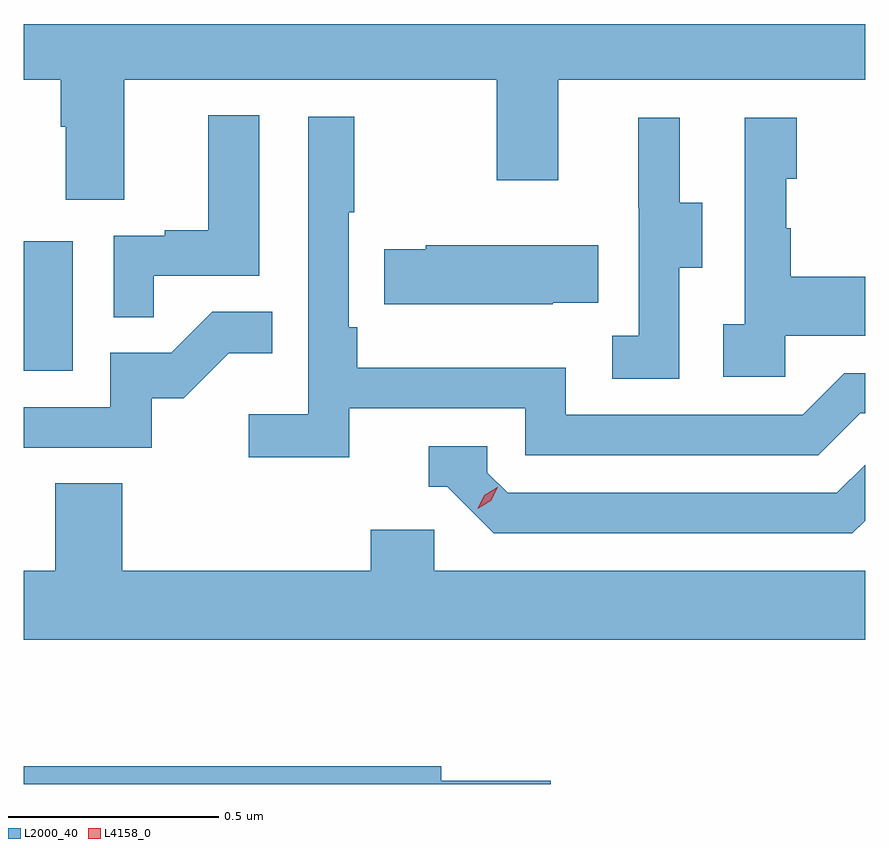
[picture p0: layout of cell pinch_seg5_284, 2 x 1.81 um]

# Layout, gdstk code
import gdstk
lib = gdstk.Library(unit=1e-6, precision=1e-09)
def R(c, l, rs):  # rectangles x0, y0, x1, y1
    for r in rs: c.add(gdstk.rectangle(r[:2], r[2:], *l))
def P(c, l, *ps):  # polygons
    for p in ps: c.add(gdstk.Polygon(p, *l))
L2000_40 = (2000, 40)
L4158_0 = (4158, 0)

pinch_seg5_284 = lib.new_cell('pinch_seg5_284')
R(pinch_seg5_284, L2000_40, [(908.846,914.676,908.962,914.983)])
P(pinch_seg5_284, L2000_40, [(909.085,915.368),(909.97,915.368),(909.97,915.129),(910.117,915.129),(910.117,915.368),(910.846,915.368),(910.846,915.5),(908.846,915.5),(908.846,915.368),(908.933,915.368),(908.933,915.256),(908.945,915.256),(908.945,915.082),(909.085,915.082)],
  [(909.155,914.901),(909.406,914.901),(909.406,915.283),(909.284,915.283),(909.284,915.01),(909.181,915.01),(909.181,914.997),(909.06,914.997),(909.06,914.803),(909.155,914.803)],
  [(909.62,914.586),(910.038,914.586),(910.038,914.475),(910.735,914.475),(910.834,914.574),(910.846,914.574),(910.846,914.67),(910.797,914.67),(910.698,914.571),(910.134,914.571),(910.134,914.683),(909.638,914.683),(909.638,914.779),(909.618,914.779),(909.618,915.052),(909.631,915.052),(909.631,915.28),(909.522,915.28),(909.522,914.572),(909.381,914.572),(909.381,914.47),(909.62,914.47)],
  [(910.404,914.92),(910.459,914.92),(910.459,915.075),(910.405,915.075),(910.405,915.277),(910.307,915.277),(910.307,915.063),(910.308,915.063),(910.308,914.759),(910.245,914.759),(910.245,914.656),(910.404,914.656)],
  [(910.656,914.759),(910.846,914.759),(910.846,914.899),(910.669,914.899),(910.669,915.014),(910.659,915.014),(910.659,915.132),(910.684,915.132),(910.684,915.277),(910.56,915.277),(910.56,914.786),(910.509,914.786),(910.509,914.661),(910.656,914.661)],
  [(910.103,914.837),(910.211,914.837),(910.211,914.974),(909.801,914.974),(909.801,914.964),(909.703,914.964),(909.703,914.834),(910.103,914.834)],
  [(909.15,914.61),(909.226,914.61),(909.333,914.717),(909.437,914.717),(909.437,914.816),(909.294,914.816),(909.196,914.718),(909.051,914.718),(909.051,914.589),(908.846,914.589),(908.846,914.493),(909.15,914.493)],
  [(910.846,914.319),(910.846,914.452),(910.779,914.385),(909.996,914.385),(909.948,914.433),(909.948,914.496),(909.809,914.496),(909.809,914.4),(909.852,914.4),(909.963,914.289),(910.816,914.289)],
  [(910.846,914.2),(909.822,914.2),(909.822,914.298),(909.671,914.298),(909.671,914.2),(909.08,914.2),(909.08,914.408),(908.92,914.408),(908.92,914.2),(908.846,914.2),(908.846,914.036),(910.846,914.036)],
  [(910.099,913.701),(909.838,913.701),(909.838,913.735),(908.846,913.735),(908.846,913.693),(910.099,913.693)])
P(pinch_seg5_284, L4158_0, [(909.925,914.347),(909.925,914.347),(909.941,914.379),(909.972,914.399),(909.973,914.399),(909.973,914.398),(909.956,914.366),(909.925,914.347)])

lib.write_gds('pinch_seg5_284.gds')
